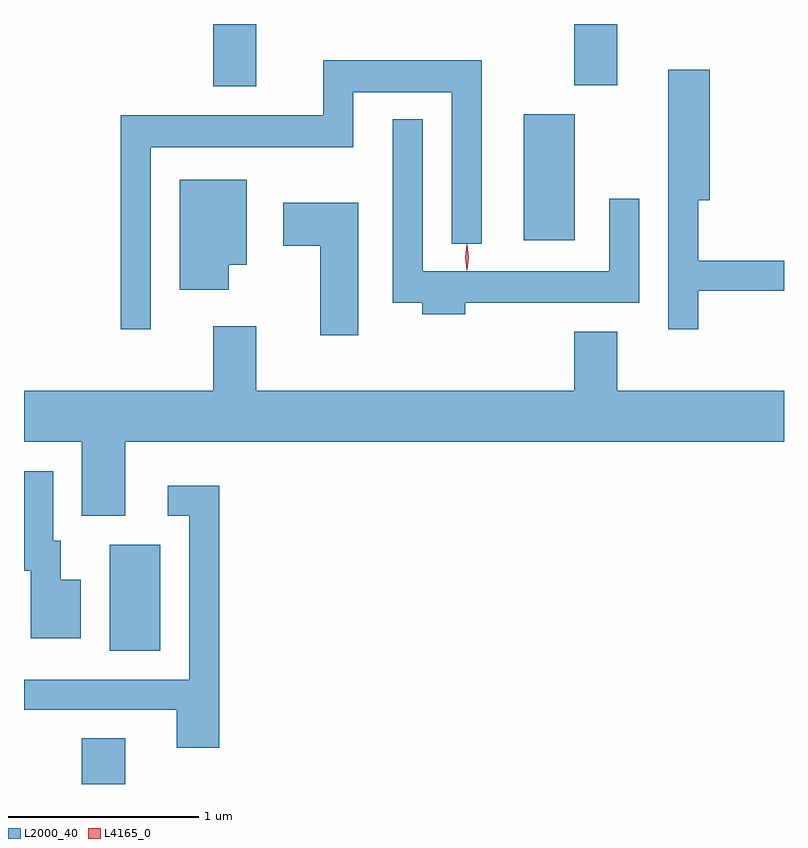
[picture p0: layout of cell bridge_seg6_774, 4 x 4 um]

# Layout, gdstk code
import gdstk
lib = gdstk.Library(unit=1e-6, precision=1e-09)
def R(c, l, rs):  # rectangles x0, y0, x1, y1
    for r in rs: c.add(gdstk.rectangle(r[:2], r[2:], *l))
def P(c, l, *ps):  # polygons
    for p in ps: c.add(gdstk.Polygon(p, *l))
L2000_40 = (2000, 40)
L4165_0 = (4165, 0)

bridge_seg6_774 = lib.new_cell('bridge_seg6_774')
R(bridge_seg6_774, L2000_40, [(524.101,1537.134,524.329,1537.374), (524.246,1537.836,524.514,1538.394), (526.426,1539.996,526.694,1540.659), (524.791,1540.806,525.019,1541.134), (526.691,1540.811,526.919,1541.134)])
P(bridge_seg6_774, L2000_40, [(524.464,1540.486),(525.529,1540.486),(525.529,1540.776),(526.046,1540.776),(526.046,1539.978),(526.204,1539.978),(526.204,1540.944),(525.371,1540.944),(525.371,1540.654),(524.306,1540.654),(524.306,1539.528),(524.464,1539.528)],
  [(527.344,1539.731),(527.796,1539.731),(527.796,1539.889),(527.344,1539.889),(527.344,1540.206),(527.404,1540.206),(527.404,1540.894),(527.186,1540.894),(527.186,1539.528),(527.344,1539.528)],
  [(526.119,1539.666),(527.034,1539.666),(527.034,1540.213),(526.876,1540.213),(526.876,1539.834),(525.894,1539.834),(525.894,1540.633),(525.736,1540.633),(525.736,1539.666),(525.891,1539.666),(525.891,1539.606),(526.119,1539.606)],
  [(524.874,1539.866),(524.969,1539.866),(524.969,1540.314),(524.616,1540.314),(524.616,1539.736),(524.874,1539.736)],
  [(525.554,1540.194),(525.161,1540.194),(525.161,1539.966),(525.356,1539.966),(525.356,1539.496),(525.554,1539.496)],
  [(524.329,1538.936),(527.796,1538.936),(527.796,1539.204),(526.919,1539.204),(526.919,1539.514),(526.691,1539.514),(526.691,1539.204),(525.019,1539.204),(525.019,1539.544),(524.791,1539.544),(524.791,1539.204),(523.796,1539.204),(523.796,1538.936),(524.101,1538.936),(524.101,1538.546),(524.329,1538.546)],
  [(524.094,1538.209),(523.989,1538.209),(523.989,1538.414),(523.949,1538.414),(523.949,1538.779),(523.796,1538.779),(523.796,1538.256),(523.831,1538.256),(523.831,1537.901),(524.094,1537.901)],
  [(524.824,1538.704),(524.553,1538.704),(524.553,1538.546),(524.666,1538.546),(524.666,1537.684),(523.796,1537.684),(523.796,1537.526),(524.601,1537.526),(524.601,1537.326),(524.824,1537.326)])
P(bridge_seg6_774, L4165_0, [(526.128,1539.839),(526.128,1539.84),(526.118,1539.906),(526.127,1539.972),(526.128,1539.973),(526.128,1539.972),(526.138,1539.906),(526.128,1539.84)],
  [(526.128,1539.837),(526.127,1539.838),(526.118,1539.907),(526.127,1539.976),(526.128,1539.976),(526.128,1539.976),(526.138,1539.907),(526.128,1539.838)])

lib.write_gds('bridge_seg6_774.gds')
